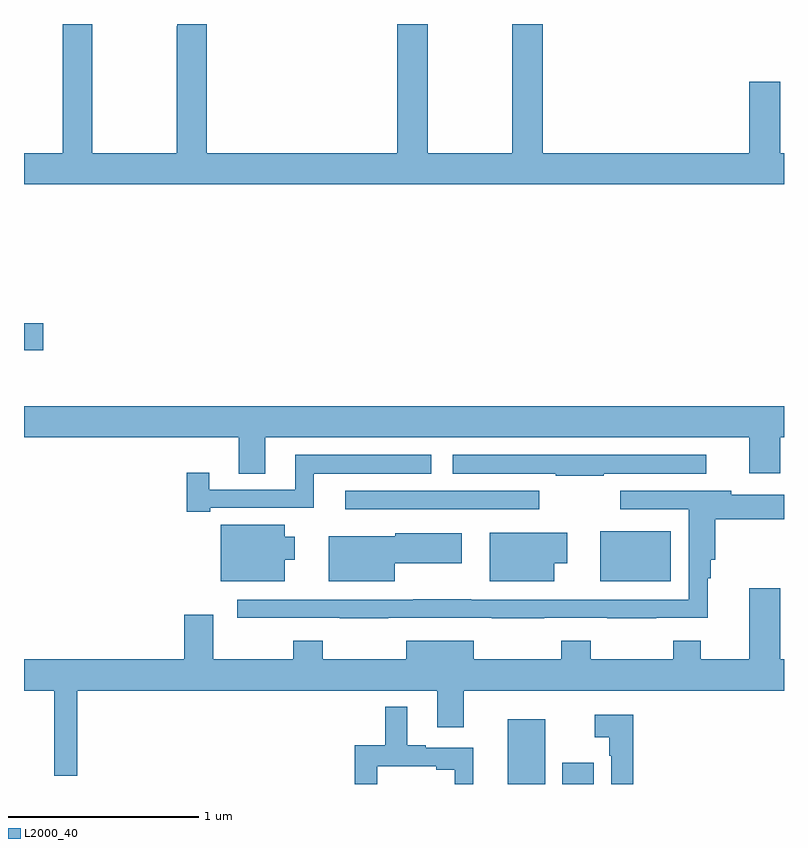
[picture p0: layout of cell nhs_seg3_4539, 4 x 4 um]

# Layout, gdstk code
import gdstk
lib = gdstk.Library(unit=1e-6, precision=1e-09)
def R(c, l, rs):  # rectangles x0, y0, x1, y1
    for r in rs: c.add(gdstk.rectangle(r[:2], r[2:], *l))
def P(c, l, *ps):  # polygons
    for p in ps: c.add(gdstk.Polygon(p, *l))
L2000_40 = (2000, 40)

nhs_seg3_4539 = lib.new_cell('nhs_seg3_4539')
R(nhs_seg3_4539, L2000_40, [(355.547,724.4,355.744,724.741), (355.832,724.4,355.999,724.513), (356.033,725.468,356.404,725.731), (354.69,725.847,355.711,725.943), (353,726.682,353.101,726.824)])
P(nhs_seg3_4539, L2000_40, [(357,727.72),(356.98,727.72),(356.98,728.095),(356.816,728.095),(356.816,727.72),(355.73,727.72),(355.73,728.4),(355.57,728.4),(355.57,727.72),(355.125,727.72),(355.125,728.4),(354.965,728.4),(354.965,727.72),(353.963,727.72),(353.963,728.4),(353.807,728.4),(353.807,728.387),(353.803,728.387),(353.803,727.72),(353.358,727.72),(353.358,728.4),(353.203,728.4),(353.203,727.72),(353,727.72),(353,727.556),(357,727.556)],
  [(354.271,726.224),(356.816,726.224),(356.816,726.036),(356.98,726.036),(356.98,726.224),(357,726.224),(357,726.388),(353,726.388),(353,726.224),(354.131,726.224),(354.131,726.034),(354.271,726.034)],
  [(356.051,726.032),(356.59,726.032),(356.59,726.133),(355.257,726.133),(355.257,726.032),(355.798,726.032),(355.798,726.022),(356.051,726.022)],
  [(353.98,725.853),(354.526,725.853),(354.526,726.032),(355.144,726.032),(355.144,726.133),(354.428,726.133),(354.428,725.949),(353.974,725.949),(353.974,726.037),(353.857,726.037),(353.857,725.833),(353.98,725.833)],
  [(354.917,725.274),(355.462,725.274),(355.462,725.273),(355.739,725.273),(355.739,725.274),(356.071,725.274),(356.071,725.273),(356.327,725.273),(356.327,725.274),(356.598,725.274),(356.598,725.483),(356.615,725.483),(356.615,725.579),(356.639,725.579),(356.639,725.794),(357,725.794),(357,725.923),(356.722,725.923),(356.722,725.943),(356.139,725.943),(356.139,725.847),(356.499,725.847),(356.499,725.37),(355.355,725.37),(355.355,725.372),(355.048,725.372),(355.048,725.37),(354.123,725.37),(354.123,725.274),(354.661,725.274),(354.661,725.273),(354.917,725.273)],
  [(354.373,725.579),(354.424,725.579),(354.424,725.701),(354.373,725.701),(354.373,725.764),(354.035,725.764),(354.035,725.468),(354.373,725.468)],
  [(355.792,725.561),(355.858,725.561),(355.858,725.722),(355.451,725.722),(355.451,725.468),(355.792,725.468)],
  [(354.952,725.561),(355.303,725.561),(355.303,725.719),(354.954,725.719),(354.954,725.704),(354.605,725.704),(354.605,725.468),(354.952,725.468)],
  [(353.281,724.892),(355.175,724.892),(355.175,724.698),(355.315,724.698),(355.315,724.892),(357,724.892),(357,725.056),(356.98,725.056),(356.98,725.431),(356.816,725.431),(356.816,725.056),(356.563,725.056),(356.563,725.155),(356.416,725.155),(356.416,725.056),(355.983,725.056),(355.983,725.155),(355.828,725.155),(355.828,725.056),(355.366,725.056),(355.366,725.155),(355.013,725.155),(355.013,725.056),(354.573,725.056),(354.573,725.155),(354.418,725.155),(354.418,725.056),(353.995,725.056),(353.995,725.29),(353.843,725.29),(353.843,725.056),(353,725.056),(353,724.892),(353.159,724.892),(353.159,724.443),(353.281,724.443)],
  [(354.858,724.494),(355.169,724.494),(355.169,724.474),(355.266,724.474),(355.266,724.4),(355.364,724.4),(355.364,724.59),(355.114,724.59),(355.114,724.603),(355.018,724.603),(355.018,724.807),(354.901,724.807),(354.901,724.603),(354.742,724.603),(354.742,724.4),(354.858,724.4)],
  [(356.207,724.765),(356.004,724.765),(356.004,724.646),(356.079,724.646),(356.079,724.55),(356.091,724.55),(356.091,724.4),(356.207,724.4)])

lib.write_gds('nhs_seg3_4539.gds')
